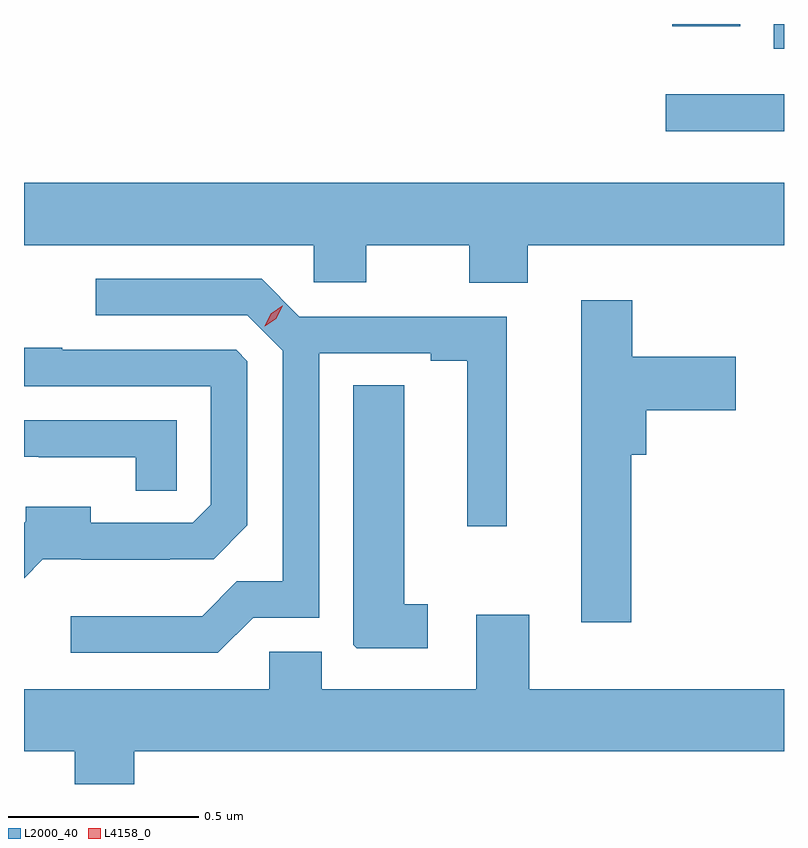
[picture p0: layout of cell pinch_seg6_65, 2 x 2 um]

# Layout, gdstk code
import gdstk
lib = gdstk.Library(unit=1e-6, precision=1e-09)
def R(c, l, rs):  # rectangles x0, y0, x1, y1
    for r in rs: c.add(gdstk.rectangle(r[:2], r[2:], *l))
def P(c, l, *ps):  # polygons
    for p in ps: c.add(gdstk.Polygon(p, *l))
L2000_40 = (2000, 40)
L4158_0 = (4158, 0)

pinch_seg6_65 = lib.new_cell('pinch_seg6_65')
R(pinch_seg6_65, L2000_40, [(949.653,956.96,949.964,957.057), (949.937,957.177,949.964,957.242), (949.67,957.236,949.849,957.242)])
P(pinch_seg6_65, L2000_40, [(949.289,956.66),(949.964,956.66),(949.964,956.824),(947.964,956.824),(947.964,956.66),(948.726,956.66),(948.726,956.562),(948.865,956.562),(948.865,956.66),(949.136,956.66),(949.136,956.561),(949.289,956.561)],
  [(948.567,955.68),(948.741,955.68),(948.741,956.376),(949.034,956.376),(949.034,956.356),(949.13,956.356),(949.13,955.92),(949.234,955.92),(949.234,956.472),(948.688,956.472),(948.589,956.571),(948.153,956.571),(948.153,956.475),(948.552,956.475),(948.645,956.382),(948.645,955.775),(948.524,955.775),(948.433,955.684),(948.087,955.684),(948.087,955.587),(948.474,955.587)],
  [(949.562,956.108),(949.601,956.108),(949.601,956.225),(949.837,956.225),(949.837,956.367),(949.565,956.367),(949.565,956.515),(949.43,956.515),(949.43,955.668),(949.562,955.668)],
  [(948.013,955.833),(948.115,955.833),(948.115,955.832),(948.347,955.832),(948.347,955.834),(948.463,955.834),(948.552,955.923),(948.552,956.355),(948.522,956.385),(948.065,956.385),(948.065,956.39),(947.964,956.39),(947.964,956.289),(948.456,956.289),(948.456,955.977),(948.408,955.929),(948.139,955.929),(948.139,955.972),(947.968,955.972),(947.968,955.933),(947.964,955.929),(947.964,955.784)],
  [(949.027,955.715),(948.964,955.715),(948.964,956.291),(948.83,956.291),(948.83,955.609),(948.84,955.599),(949.027,955.599)],
  [(948.366,956.199),(947.964,956.199),(947.964,956.103),(948.003,956.103),(948.003,956.102),(948.258,956.102),(948.258,956.014),(948.366,956.014)],
  [(948.254,955.328),(949.964,955.328),(949.964,955.492),(949.294,955.492),(949.294,955.687),(949.154,955.687),(949.154,955.492),(948.748,955.492),(948.748,955.59),(948.609,955.59),(948.609,955.492),(947.964,955.492),(947.964,955.328),(948.097,955.328),(948.097,955.242),(948.254,955.242)])
P(pinch_seg6_65, L4158_0, [(948.597,956.446),(948.597,956.446),(948.613,956.48),(948.644,956.501),(948.645,956.501),(948.645,956.5),(948.628,956.467),(948.597,956.446)])

lib.write_gds('pinch_seg6_65.gds')
